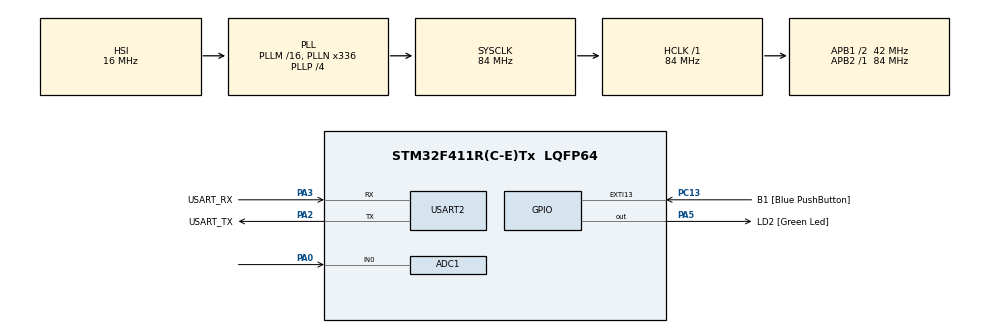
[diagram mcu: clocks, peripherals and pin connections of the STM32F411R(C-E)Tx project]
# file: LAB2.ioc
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ADC1.Channel-0\#ChannelRegularConversion=ADC_CHANNEL_0
ADC1.Channel-1\#ChannelRegularConversion=ADC_CHANNEL_TEMPSENSOR
ADC1.ContinuousConvMode=ENABLE
ADC1.DMAContinuousRequests=ENABLE
ADC1.NbrOfConversion=2
ADC1.NbrOfConversionFlag=1
ADC1.Rank-0\#ChannelRegularConversion=1
ADC1.Rank-1\#ChannelRegularConversion=2
ADC1.SamplingTime-0\#ChannelRegularConversion=ADC_SAMPLETIME_56CYCLES
ADC1.SamplingTime-1\#ChannelRegularConversion=ADC_SAMPLETIME_56CYCLES
ADC1.ScanConvMode=ENABLE
ADC1.master=1
Dma.ADC1.0.Direction=DMA_PERIPH_TO_MEMORY
Dma.ADC1.0.FIFOMode=DMA_FIFOMODE_DISABLE
Dma.ADC1.0.Instance=DMA2_Stream0
Dma.ADC1.0.MemDataAlignment=DMA_MDATAALIGN_HALFWORD
Dma.ADC1.0.MemInc=DMA_MINC_ENABLE
Dma.ADC1.0.Mode=DMA_CIRCULAR
Dma.ADC1.0.PeriphDataAlignment=DMA_PDATAALIGN_HALFWORD
Dma.ADC1.0.PeriphInc=DMA_PINC_DISABLE
Dma.ADC1.0.Priority=DMA_PRIORITY_LOW
Dma.Request0=ADC1
Mcu.Family=STM32F4
Mcu.Name=STM32F411R(C-E)Tx
Mcu.Package=LQFP64
NVIC.ADC_IRQn=true\:0\:0\:false\:false\:true\:true\:true\:true
NVIC.DMA2_Stream0_IRQn=true\:0\:0\:false\:false\:true\:false\:true\:true
NVIC.PriorityGroup=NVIC_PRIORITYGROUP_0
PA0-WKUP.Signal=ADCx_IN0
PA13.GPIO_Label=TMS
PA13.Mode=Serial_Wire
PA13.Signal=SYS_JTMS-SWDIO
PA14.GPIO_Label=TCK
PA14.Mode=Serial_Wire
PA14.Signal=SYS_JTCK-SWCLK
PA2.GPIO_Label=USART_TX
PA2.Mode=Asynchronous
PA2.Signal=USART2_TX
PA3.GPIO_Label=USART_RX
PA3.Mode=Asynchronous
PA3.Signal=USART2_RX
PA5.GPIO_Label=LD2 [Green Led]
PA5.Signal=GPIO_Output
PB3.GPIO_Label=SWO
PB3.Signal=SYS_JTDO-SWO
PC13-ANTI_TAMP.GPIO_Label=B1 [Blue PushButton]
PC13-ANTI_TAMP.GPIO_ModeDefaultEXTI=GPIO_MODE_IT_FALLING
PC13-ANTI_TAMP.Signal=GPXTI13
PC14-OSC32_IN.Mode=LSE-External-Oscillator
PC14-OSC32_IN.Signal=RCC_OSC32_IN
PC15-OSC32_OUT.Mode=LSE-External-Oscillator
PC15-OSC32_OUT.Signal=RCC_OSC32_OUT
PH0\ -\ OSC_IN.Mode=HSE-External-Clock-Source
PH0\ -\ OSC_IN.Signal=RCC_OSC_IN
PH1\ -\ OSC_OUT.Mode=HSE-External-Clock-Source
PH1\ -\ OSC_OUT.Signal=RCC_OSC_OUT
ProjectManager.HeapSize=0x200
ProjectManager.StackSize=0x400
ProjectManager.TargetToolchain=STM32CubeIDE
RCC.48MHZClocksFreq_Value=84000000
RCC.AHBFreq_Value=84000000
RCC.APB1CLKDivider=RCC_HCLK_DIV2
RCC.APB1Freq_Value=42000000
RCC.APB1TimFreq_Value=84000000
RCC.APB2Freq_Value=84000000
RCC.APB2TimFreq_Value=84000000
RCC.CortexFreq_Value=84000000
RCC.FLatency-AdvancedSettings=FLASH_LATENCY_2
RCC.HCLKFreq_Value=84000000
RCC.HSE_VALUE=8000000
RCC.HSI_VALUE=16000000
RCC.PLLN=336
RCC.PLLP=RCC_PLLP_DIV4
RCC.SYSCLKFreq_VALUE=84000000
RCC.SYSCLKSource=RCC_SYSCLKSOURCE_PLLCLK
RCC.VCOOutputFreq_Value=336000000
SH.ADCx_IN0.0=ADC1_IN0,IN0
USART2.VirtualMode=VM_ASYNC
VP_ADC1_TempSens_Input.Mode=IN-TempSens
board=NUCLEO-F411RE

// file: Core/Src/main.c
/* USER CODE BEGIN Header */
/**
  ******************************************************************************
  * @file           : main.c
  * @brief          : Main program body
  ******************************************************************************
  * @attention
  *
  * Copyright (c) 2023 STMicroelectronics.
  * All rights reserved.
  *
  * This software is licensed under terms that can be found in the LICENSE file
  * in the root directory of this software component.
  * If no LICENSE file comes with this software, it is provided AS-IS.
  *
  ******************************************************************************
  */
/* USER CODE END Header */
#include "main.h"

ADC_HandleTypeDef hadc1;
DMA_HandleTypeDef hdma_adc1;

UART_HandleTypeDef huart2;

/* USER CODE BEGIN PV */
uint32_t adcRawData ;
uint32_t sum_temp ,sum_in0,realtemp,realin0;
float finaltemp,finalin0 ;

typedef struct
{
	uint16_t temp ;
	uint16_t in0 ;
}adcDMAStructure ;
adcDMAStructure adcDMA[10];

/* USER CODE END PV */

void SystemClock_Config(void);
static void MX_GPIO_Init(void);
static void MX_DMA_Init(void);
static void MX_USART2_UART_Init(void);
static void MX_ADC1_Init(void);

int main(void)
{

  /* MCU Configuration--------------------------------------------------------*/

  /* Reset of all peripherals, Initializes the Flash interface and the Systick. */
  HAL_Init();

  /* Configure the system clock */
  SystemClock_Config();

  /* Initialize all configured peripherals */
  MX_GPIO_Init();
  MX_DMA_Init();
  MX_USART2_UART_Init();
  MX_ADC1_Init();
  /* USER CODE BEGIN 2 */
  HAL_ADC_Start_IT(&hadc1);
  HAL_ADC_Start_DMA(&hadc1, (uint32_t*)adcDMA, 50);

  /* USER CODE END 2 */

  /* Infinite loop */
  while (1)
  {

    /* USER CODE BEGIN 3 */
	  HAL_Delay(1000);

	  int i ;
	  for (i=0 ;i<10 ;i++)
	  {
		  if(i==0)
		  {
			  sum_temp = 0;
			  sum_in0 = 0;
			  sum_in0 = sum_in0 + adcDMA[i].in0 ;
			  sum_temp = sum_temp +  adcDMA[i].temp ;
		  }
		  else if(i==9)
		  {
			  sum_in0 = sum_in0 + adcDMA[i].in0;
			  sum_temp = sum_temp + adcDMA[i].temp;
			  realtemp = sum_temp/10 ;
			  realin0 = sum_in0/10 ;
			  finalin0 = (5.0/3171)*realin0;
			  finaltemp = ((22.0/2725)*realtemp)+273 ;

		  }
		  else
		  {
		  sum_temp =  sum_temp + adcDMA[i].in0 ;
		  sum_in0 = sum_in0 + adcDMA[i].in0 ;
		  }
	  }

  }
  /* USER CODE END 3 */
}

void SystemClock_Config(void)
{
  RCC_OscInitTypeDef RCC_OscInitStruct = {0};
  RCC_ClkInitTypeDef RCC_ClkInitStruct = {0};

  /** Configure the main internal regulator output voltage
  */
  __HAL_RCC_PWR_CLK_ENABLE();
  __HAL_PWR_VOLTAGESCALING_CONFIG(PWR_REGULATOR_VOLTAGE_SCALE1);

  /** Initializes the RCC Oscillators according to the specified parameters
  * in the RCC_OscInitTypeDef structure.
  */
  RCC_OscInitStruct.OscillatorType = RCC_OSCILLATORTYPE_HSI;
  RCC_OscInitStruct.HSIState = RCC_HSI_ON;
  RCC_OscInitStruct.HSICalibrationValue = RCC_HSICALIBRATION_DEFAULT;
  RCC_OscInitStruct.PLL.PLLState = RCC_PLL_ON;
  RCC_OscInitStruct.PLL.PLLSource = RCC_PLLSOURCE_HSI;
  RCC_OscInitStruct.PLL.PLLM = 16;
  RCC_OscInitStruct.PLL.PLLN = 336;
  RCC_OscInitStruct.PLL.PLLP = RCC_PLLP_DIV4;
  RCC_OscInitStruct.PLL.PLLQ = 4;
  if (HAL_RCC_OscConfig(&RCC_OscInitStruct) != HAL_OK)
  {
    Error_Handler();
  }

  /** Initializes the CPU, AHB and APB buses clocks
  */
  RCC_ClkInitStruct.ClockType = RCC_CLOCKTYPE_HCLK|RCC_CLOCKTYPE_SYSCLK
                              |RCC_CLOCKTYPE_PCLK1|RCC_CLOCKTYPE_PCLK2;
  RCC_ClkInitStruct.SYSCLKSource = RCC_SYSCLKSOURCE_PLLCLK;
  RCC_ClkInitStruct.AHBCLKDivider = RCC_SYSCLK_DIV1;
  RCC_ClkInitStruct.APB1CLKDivider = RCC_HCLK_DIV2;
  RCC_ClkInitStruct.APB2CLKDivider = RCC_HCLK_DIV1;

  if (HAL_RCC_ClockConfig(&RCC_ClkInitStruct, FLASH_LATENCY_2) != HAL_OK)
  {
    Error_Handler();
  }
}

static void MX_ADC1_Init(void)
{

  ADC_ChannelConfTypeDef sConfig = {0};

  /** Configure the global features of the ADC (Clock, Resolution, Data Alignment and number of conversion)
  */
  hadc1.Instance = ADC1;
  hadc1.Init.ClockPrescaler = ADC_CLOCK_SYNC_PCLK_DIV4;
  hadc1.Init.Resolution = ADC_RESOLUTION_12B;
  hadc1.Init.ScanConvMode = ENABLE;
  hadc1.Init.ContinuousConvMode = ENABLE;
  hadc1.Init.DiscontinuousConvMode = DISABLE;
  hadc1.Init.ExternalTrigConvEdge = ADC_EXTERNALTRIGCONVEDGE_NONE;
  hadc1.Init.ExternalTrigConv = ADC_SOFTWARE_START;
  hadc1.Init.DataAlign = ADC_DATAALIGN_RIGHT;
  hadc1.Init.NbrOfConversion = 2;
  hadc1.Init.DMAContinuousRequests = ENABLE;
  hadc1.Init.EOCSelection = ADC_EOC_SINGLE_CONV;
  if (HAL_ADC_Init(&hadc1) != HAL_OK)
  {
    Error_Handler();
  }

  /** Configure for the selected ADC regular channel its corresponding rank in the sequencer and its sample time.
  */
  sConfig.Channel = ADC_CHANNEL_0;
  sConfig.Rank = 1;
  sConfig.SamplingTime = ADC_SAMPLETIME_56CYCLES;
  if (HAL_ADC_ConfigChannel(&hadc1, &sConfig) != HAL_OK)
  {
    Error_Handler();
  }

  /** Configure for the selected ADC regular channel its corresponding rank in the sequencer and its sample time.
  */
  sConfig.Channel = ADC_CHANNEL_TEMPSENSOR;
  sConfig.Rank = 2;
  if (HAL_ADC_ConfigChannel(&hadc1, &sConfig) != HAL_OK)
  {
    Error_Handler();
  }

}

static void MX_USART2_UART_Init(void)
{

  huart2.Instance = USART2;
  huart2.Init.BaudRate = 115200;
  huart2.Init.WordLength = UART_WORDLENGTH_8B;
  huart2.Init.StopBits = UART_STOPBITS_1;
  huart2.Init.Parity = UART_PARITY_NONE;
  huart2.Init.Mode = UART_MODE_TX_RX;
  huart2.Init.HwFlowCtl = UART_HWCONTROL_NONE;
  huart2.Init.OverSampling = UART_OVERSAMPLING_16;
  if (HAL_UART_Init(&huart2) != HAL_OK)
  {
    Error_Handler();
  }

}

static void MX_DMA_Init(void)
{

  /* DMA controller clock enable */
  __HAL_RCC_DMA2_CLK_ENABLE();

  /* DMA interrupt init */
  /* DMA2_Stream0_IRQn interrupt configuration */
  HAL_NVIC_SetPriority(DMA2_Stream0_IRQn, 0, 0);
  HAL_NVIC_EnableIRQ(DMA2_Stream0_IRQn);

}

static void MX_GPIO_Init(void)
{
  GPIO_InitTypeDef GPIO_InitStruct = {0};

  /* GPIO Ports Clock Enable */
  __HAL_RCC_GPIOC_CLK_ENABLE();
  __HAL_RCC_GPIOH_CLK_ENABLE();
  __HAL_RCC_GPIOA_CLK_ENABLE();
  __HAL_RCC_GPIOB_CLK_ENABLE();

  /*Configure GPIO pin Output Level */
  HAL_GPIO_WritePin(LD2_GPIO_Port, LD2_Pin, GPIO_PIN_RESET);

  /*Configure GPIO pin : B1_Pin */
  GPIO_InitStruct.Pin = B1_Pin;
  GPIO_InitStruct.Mode = GPIO_MODE_IT_FALLING;
  GPIO_InitStruct.Pull = GPIO_NOPULL;
  HAL_GPIO_Init(B1_GPIO_Port, &GPIO_InitStruct);

  /*Configure GPIO pin : LD2_Pin */
  GPIO_InitStruct.Pin = LD2_Pin;
  GPIO_InitStruct.Mode = GPIO_MODE_OUTPUT_PP;
  GPIO_InitStruct.Pull = GPIO_NOPULL;
  GPIO_InitStruct.Speed = GPIO_SPEED_FREQ_LOW;
  HAL_GPIO_Init(LD2_GPIO_Port, &GPIO_InitStruct);

}

/* USER CODE BEGIN 4 */
void HAL_GPIO_EXTI_Callback(uint16_t GPIO_Pin)
{
	  HAL_ADC_Start_DMA(&hadc1, (uint32_t*)adcDMA, 10);

}
void HAL_ADC_ConvCpltCallback(ADC_HandleTypeDef* hadc)
{

/*	DMAadcRawData = HAL_ADC_GetValue(&hadc1);*/
}

/* USER CODE END 4 */

void Error_Handler(void)
{
  __disable_irq();
  while (1)
  {
  }
}
